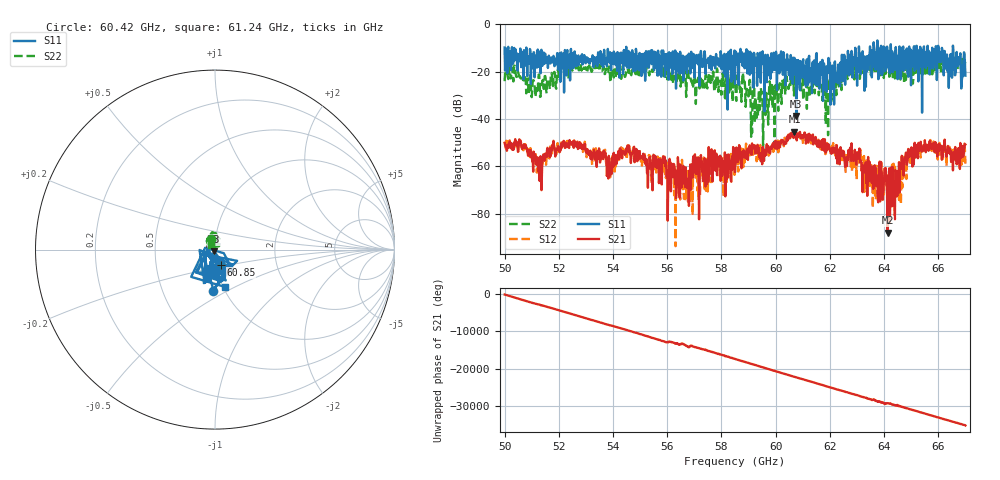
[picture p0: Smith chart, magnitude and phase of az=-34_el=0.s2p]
!Created with skrf (http://scikit-rf.org).
# GHz S RI R 50.0
!freq ReS11 ImS11 ReS21 ImS21 ReS12 ImS12 ReS22 ImS22
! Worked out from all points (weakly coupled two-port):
!   1001 points, 50 GHz to 67 GHz, reference 50 ohm
!   highest |S21| = -45.37 dB at 60.69 GHz (marker M1); lowest = -88.1 dB at 64.13 GHz (marker M2)
!   lowest |S11| = -38.8 dB at 60.76 GHz (marker M3), VSWR 1.02, Z = 49.4 - j0.997 ohm
!   |S11| at or under -10 dB: 50.8 GHz to 54.49 GHz (3.685 GHz wide, 7 % of centre); 54.49 GHz to 62.94 GHz (8.447 GHz wide, 14.4 % of centre); 66.01 GHz to 66.54 GHz (532 MHz wide, 0.803 % of centre) (the widest 3 of 29)
!   |S22| runs from -53.4 to -14.1 dB; largest |S21 - S12| = 0.002
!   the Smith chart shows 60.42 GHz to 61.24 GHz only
!   S11 on the Smith chart (normalised r, x): 60.42 GHz: 0.88, -0.43; 60.85 GHz: 1.05, -0.18; 61.24 GHz: 1.02, -0.44
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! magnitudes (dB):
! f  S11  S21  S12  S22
! 50 GHz  -9.8  -50.1  -51.0  -24.1
! 51.33 GHz  -20.7  -55.8  -56.0  -30.6
! 51.77 GHz  -14.9  -50.9  -51.8  -24.8
! 52.84 GHz  -13.5  -51.2  -52.2  -19.6
! 53.88 GHz  -16.2  -64.2  -61.7  -19.0
! 54.54 GHz  -14.8  -51.2  -52.5  -18.6
! 55.68 GHz  -13.6  -57.1  -58.9  -21.5
! 56.85 GHz  -20.8  -59.2  -66.7  -22.4
! 57.04 GHz  -16.7  -60.7  -62.0  -29.9
! 58.5 GHz  -25.1  -62.6  -54.4  -24.8
! 59.62 GHz  -12.9  -55.5  -53.3  -38.4
! 60.42 GHz  -12.8  -47.5  -48.4  -24.0
! 60.69 GHz  -14.2  -45.4  -45.2  -24.5
! 60.76 GHz  -38.8  -47.6  -46.1  -27.6
! 60.85 GHz  -20.8  -46.9  -45.9  -21.9
! 61.24 GHz  -13.4  -46.3  -47.3  -29.2
! 61.34 GHz  -29.2  -49.2  -48.8  -25.1
! 64.13 GHz  -12.4  -88.1  -69.4  -18.3
! 64.18 GHz  -19.2  -72.7  -80.5  -18.9
! 64.94 GHz  -14.3  -53.1  -52.5  -21.8
! 65.49 GHz  -13.5  -52.8  -51.3  -21.4
! 67 GHz  -21.7  -50.8  -58.9  -16.0
